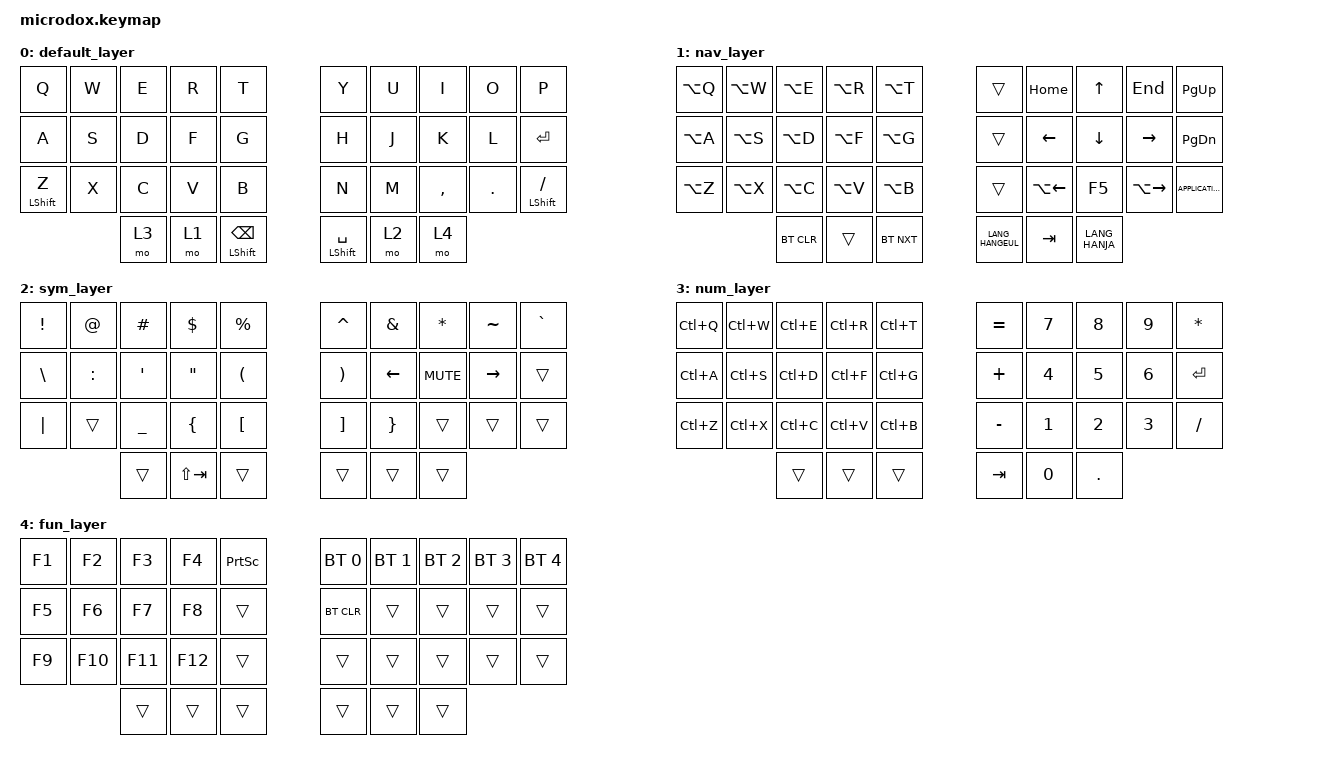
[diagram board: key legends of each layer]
 /*
 * Copyright (c) 2020 The ZMK Contributors
 *
 * SPDX-License-Identifier: MIT
 */

#include <behaviors.dtsi>
#include <dt-bindings/zmk/keys.h>
#include <dt-bindings/zmk/bt.h>

&mt {
    retro-tap;
};

/ {
    behaviors {
        hm: homerow_mods {
            compatible = "zmk,behavior-hold-tap";
            label = "HOMEROW_MODS";
            #binding-cells = <2>;
            tapping-term-ms = <500>;
            quick_tap_ms = <0>;
            flavor = "balanced";
            bindings = <&kp>, <&kp>;
        };
    };
    
    combos {
        compatible = "zmk,combos";
        combo_esc {
            timeout-ms = <75>;
            key-positions = <0 1>;
            bindings = <&kp ESC>;
        };
        combo_capslock {
            timeout-ms = <75>;
            key-positions = <2 3>;
            bindings = <&kp CAPS>;
        };
        combo_mute {
            timeout-ms = <75>;
            key-positions = <6 7>;
            bindings = <&kp C_MUTE>;
        };
        combo_insert {
            timeout-ms = <75>;
            key-positions = <8 9>;
            bindings = <&kp INS>;
        };        
        combo_alt {
            timeout-ms = <75>;
            key-positions = <10 11>;
            bindings = <&kp LALT>;
        };        
        combo_TAB {
            timeout-ms = <75>;
            key-positions = <12 13>;
            bindings = <&kp TAB>;
        };
        combo_winTAB {
            timeout-ms = <75>;
            key-positions = <14 15>;
            bindings = <&kp LG(TAB)>;
        };
        combo_del {
            timeout-ms = <75>;
            key-positions = <16 17>;
            bindings = <&kp DEL>;
        };
        combo_explorer {
            timeout-ms = <75>;
            key-positions = <18 19>;
            bindings = <&kp LG(E)>;
        };
        combo_ctrl {
            timeout-ms = <75>;
            key-positions = <20 21>;
            bindings = <&kp LCTRL>;
        };
        combo_undo {
            timeout-ms = <75>;
            key-positions = <22 23>;
            bindings = <&kp LC(Z)>;
        };
        combo_redo {
            timeout-ms = <75>;
            key-positions = <26 27>;
            bindings = <&kp LS(LC(Z))>;
        };
        combo_semicolon {
            timeout-ms = <75>;
            key-positions = <27 28>;
            bindings = <&kp SEMI>;
        };
        combo_closeWin {
            timeout-ms = <75>;
            key-positions = <28 29>;
            bindings = <&kp LA(F4)>;
        };
        combo_Lgui {
            timeout-ms = <75>;
            key-positions = <30 31>;
            bindings = <&kp LGUI>;
        };
        combo_Rgui {
            timeout-ms = <74>;
            key-positions = <34 35>;
            bindings = <&kp LGUI>;
        };
        combo_BT1 {
            timeout-ms = <75>;
            key-positions = <0 24>;
            bindings = <&bt BT_SEL 0>;
        };
        combo_BT2 {
            timeout-ms = <75>;
            key-positions = <1 24>;
            bindings = <&bt BT_SEL 1>;
        };
        combo_BT3 {
            timeout-ms = <75>;
            key-positions = <2 24>;
            bindings = <&bt BT_SEL 2>;
        };
        combo_BT4 {
            timeout-ms = <75>;
            key-positions = <3 24>;
            bindings = <&bt BT_SEL 3>;
        };
        combo_BT5 {
            timeout-ms = <75>;
            key-positions = <4 24>;
            bindings = <&bt BT_SEL 4>;
        };
        combo_BTclr {
            timeout-ms = <75>;
            key-positions = <10 24>;
            bindings = <&bt BT_CLR>;
        };
        combo_BT_1 {
            timeout-ms = <75>;
            key-positions = <5 25>;
            bindings = <&bt BT_SEL 0>;
        };
        combo_BT_2 {
            timeout-ms = <75>;
            key-positions = <6 25>;
            bindings = <&bt BT_SEL 1>;
        };
        combo_BT_3 {
            timeout-ms = <75>;
            key-positions = <7 25>;
            bindings = <&bt BT_SEL 2>;
        };
        combo_BT_4 {
            timeout-ms = <75>;
            key-positions = <8 25>;
            bindings = <&bt BT_SEL 3>;
        };
        combo_BT_5 {
            timeout-ms = <75>;
            key-positions = <9 25>;
            bindings = <&bt BT_SEL 4>;
        };
        combo_BT_clr {
            timeout-ms = <75>;
            key-positions = <15 25>;
            bindings = <&bt BT_CLR>;
        };
    };
};

/ {
        keymap {
                compatible = "zmk,keymap";

                default_layer {
// -----------------------------------------------------------------------------------------
// |  Q  |  W  |  E  |  R  |  T   |   |  Y  |  U   |  I  |  O  |  P  |
// |  A  |  S  |  D  |  F  |  G   |   |  H  |  J   |  K  |  L  | ENT |
// |  Z  |  X  |  C  |  V  |  B   |   |  N  |  M   |  ,  |  .  |  /  |
//             | NUM | NAV | BKSP |   | SPC | SYM  | FUN |
                        bindings = <
   &kp Q        &kp W       &kp E       &kp R       &kp T               &kp Y       &kp U       &kp I       &kp O       &kp P
   &kp A        &kp S       &kp D       &kp F       &kp G               &kp H       &kp J       &kp K       &kp L       &kp RET
   &hm LSHIFT Z        &kp X       &kp C       &kp V       &kp B               &kp N       &kp M       &kp COMMA   &kp DOT     &hm LSHIFT FSLH
                            &mo 3       &mo 1       &hm LSHIFT BSPC     &hm LSHIFT SPACE   &mo 2       &mo 4
                        >;
                };
                nav_layer {
// -----------------------------------------------------------------------------------------
// |alt-Q|alt-W|alt-E|alt-R|alt-T|   |     | HOME |  UP  | END | PGUP |
// |alt-A|alt-S|alt-D|alt-F|alt-G|   |     | LEFT | DOWN | RGT | PGDN |
// |alt-Z|alt-X|alt-C|alt-V|alt-B|   |     | PREV |  F5  | NEXT| menu |
//             |BTCLR|     |BTNXT|   | KOR | TAB  | HANJA|
                        bindings = <
   &kp LA(Q)    &kp LA(W)   &kp LA(E)   &kp LA(R)   &kp LA(T)           &trans      &kp HOME    &kp UP      &kp END     &kp PG_UP
   &kp LA(A)    &kp LA(S)   &kp LA(D)   &kp LA(F)   &kp LA(G)           &trans      &kp LEFT    &kp DOWN    &kp RIGHT   &kp PG_DN
   &kp LA(Z)    &kp LA(X)   &kp LA(C)   &kp LA(V)   &kp LA(B)           &trans      &kp LA(LEFT)  &kp F5    &kp LA(RIGHT)  &kp K_APPLICATION
                            &bt BT_CLR  &trans      &bt BT_NXT          &kp LANG_HANGEUL &kp TAB &kp LANG_HANJA
                        >;
                };

                sym_layer {
// -----------------------------------------------------------------------------------------
// |  !  |  @  |  #  |  $  |  %  |   |  ^  |  &  |  *  |  ~  |  `  |
// |  \  |  :  |  '  |  "  |  (  |   |  )  | LEFT| MUTE| RGT |     |
// |  |  |     |  _  |  {  |  [  |   |  ]  |  }  |     |     |     |
//             |     |S-TAB|     |   |     |     |     |
                        bindings = <
   &kp EXCL     &kp AT      &kp HASH        &kp DLLR        &kp PRCNT         &kp CARET     &kp AMPS        &kp ASTRK       &kp TILDE       &kp GRAVE
   &kp BSLH     &kp COLON   &kp SQT         &kp DQT         &kp LPAR          &kp RPAR      &kp LEFT        &kp C_MUTE      &kp RIGHT       &trans
   &kp PIPE     &trans      &kp UNDER       &kp LBRC        &kp LBKT          &kp RBKT      &kp RBRC        &trans          &trans          &trans
                            &trans          &kp LS(TAB)     &trans            &trans        &trans          &trans
                        >;
                };

// This layer is unreachable until "tri layer state" is sorted out.
// Leaving it here for completeness.
                num_layer {
// -----------------------------------------------------------------------------------------
// |Ctr-Q|Ctr-W|Ctr-E|Ctr-R|Ctr-T|   |  =  |  7  |  8  |  9  |  *  |
// |Ctr-A|Ctr-S|Ctr-D|Ctr-F|Ctr-G|   |  +  |  4  |  5  |  6  | ENT |
// |Ctr-Z|Ctr-X|Ctr-C|Ctr-V|Ctr-B|   |  -  |  1  |  2  |  3  |  /  |
//             |     |     |     |   | TAB |  0  |  .  |
                        bindings = <
   &kp LC(Q) &kp LC(W) &kp LC(E) &kp LC(R) &kp LC(T)    &kp EQUAL  &kp N7  &kp N8 &kp N9 &kp ASTRK
   &kp LC(A) &kp LC(S) &kp LC(D) &kp LC(F) &kp LC(G)    &kp PLUS  &kp N4  &kp N5 &kp N6 &kp RET
   &kp LC(Z) &kp LC(X) &kp LC(C) &kp LC(V) &kp LC(B)    &kp MINUS  &kp N1  &kp N2 &kp N3 &kp FSLH
                 &trans &trans &trans    &kp TAB &kp N0 &kp DOT
                        >;
                };
                
                fun_layer {
// -----------------------------------------------------------------------------------------
// | F1  | F2  | F3  | F4  | PrSc|   | BT1 | BT2 | BT3 | BT4 | BT5 |
// | F5  | F6  | F7  | F8  |     |   |BTclr|     |     |     |     |
// | F9  | F10 | F11 | F12 |     |   |     |     |     |     |     |
//             |     |     |     |   |     |     |     |
                        bindings = <
   &kp F1 &kp F2 &kp F3 &kp F4 &kp PRINTSCREEN  &bt BT_SEL 0 &bt BT_SEL 1 &bt BT_SEL 2 &bt BT_SEL 3 &bt BT_SEL 4
   &kp F5 &kp F6 &kp F7 &kp F8 &trans   &bt BT_CLR &trans &trans &trans &trans
   &kp F9 &kp F10 &kp F11 &kp F12 &trans    &trans &trans &trans &trans &trans
        &trans &trans &trans    &trans &trans &trans
                        >;
                };
        };
};
